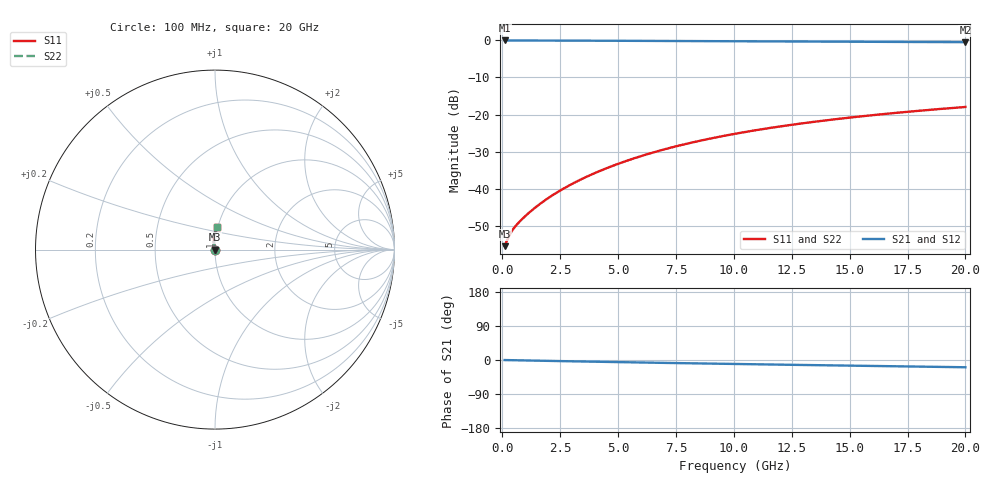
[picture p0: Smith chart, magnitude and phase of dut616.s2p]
! Touchstone file exported from HFSS 2024.1.0
!  File:  C:/UserFiles/LocalFiles/RDL_TSV_Batchsim/temp_RDL_top_616_1779780019.aedt
!  Generated:  03:22:26 PM May 26, 2026
!  Design:  RDL_top
!  Project:  temp_RDL_top_616_1779780019
!  Setup:  Setup1
!  Solution:  Sweep
! Variables:
!  dtsv = 10.80580581um
!  hbump = 3um
!  htsv = 83.17um
!  ldown = 100um
!  lrdl = 310.51um
!  p = 40
!  p1 = 40.49um
!  rhole = 1um
!  t = 450um
!  tdown = 3.915915916um
!  trdl = 2.99um
!  wdown = 15.38538539um
!  wrdl = 29.26um
# GHz S MA R 50.000000
! Terminal data exported
! Port[1] = Box2_T1
! Port[2] = Box2_T2
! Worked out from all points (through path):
!   200 points, 100 MHz to 20 GHz, reference 50 ohm
!   highest |S21| = -0.01 dB at 100 MHz (marker M1); lowest = -0.5 dB at 20 GHz (marker M2)
!   group delay of S21, straight-line fit = 2.62 ps
!   lowest |S11| = -55.5 dB at 100 MHz (marker M3), VSWR 1.00, Z = 50.2 + j0.0552 ohm
!   |S11| at or under -10 dB: start of sweep to end of sweep
!   |S22| runs from -55.5 to -18.0 dB; largest |S21 - S12| = 2.8e-15
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0.1  0.001672 19.2  0.9984 -0.1  0.9984 -0.1  0.001672 19.2
! Gamma 0 0 0 0
! Port Impedance 50 0 50 0
0.3  0.002324 38.6  0.9981 -0.4  0.9981 -0.4  0.002324 38.6
0.4  0.002637 43.5  0.998 -0.5  0.998 -0.5  0.002637 43.5
0.5  0.002923 47.4  0.9978 -0.6  0.9978 -0.6  0.002924 47.4
0.8  0.003729 57.2  0.9975 -1.0  0.9975 -1.0  0.003729 57.2
1.2  0.004861 67.4  0.997 -1.4  0.997 -1.4  0.004861 67.4
1.7  0.006459 76.6  0.9963 -2.0  0.9963 -2.0  0.006459 76.6
2.2  0.008254 83.1  0.9955 -2.6  0.9955 -2.6  0.008253 83.1
2.8  0.01065 88.7  0.9942 -3.2  0.9942 -3.2  0.01065 88.7
3.5  0.01378 93.2  0.9925 -4.0  0.9925 -4.0  0.01378 93.1
4.2  0.01725 96.1  0.9906 -4.8  0.9906 -4.8  0.01725 96.1
5  0.0216 98.2  0.9881 -5.6  0.9881 -5.6  0.02159 98.2
5.9  0.0269 99.4  0.9852 -6.5  0.9852 -6.5  0.0269 99.4
6.8  0.03257 99.8  0.9822 -7.4  0.9822 -7.4  0.03257 99.8
7.6  0.03786 99.6  0.9796 -8.2  0.9796 -8.2  0.03785 99.6
8.4  0.04332 99.2  0.9769 -9.0  0.9769 -9.0  0.0433 99.2
10.1  0.05531 97.5  0.9716 -10.6  0.9716 -10.6  0.05529 97.5
11.7  0.06687 95.6  0.9669 -12.0  0.9669 -12.0  0.06685 95.5
13.4  0.07923 93.3  0.9623 -13.5  0.9623 -13.5  0.07921 93.3
15  0.09085 91.1  0.9583 -14.9  0.9583 -14.9  0.09082 91.1
16.7  0.1031 88.8  0.9543 -16.3  0.9543 -16.3  0.1031 88.8
20  0.1264 84.4  0.9472 -19.2  0.9472 -19.2  0.1264 84.4
